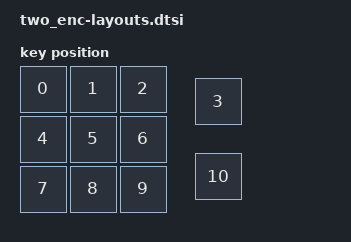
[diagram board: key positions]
#include <physical_layouts.dtsi>

/ {
    thermalpad_physical_layout: thermalpad_physical_layout {
        compatible = "zmk,physical-layout";
        display-name = "two encoder layout";
        keys  //                     w   h    x    y     rot    rx    ry
            = <&key_physical_attrs 100 100    0    0       0     0     0>
            , <&key_physical_attrs 100 100  100    0       0     0     0>
            , <&key_physical_attrs 100 100  200    0       0     0     0>
            , <&key_physical_attrs 100 100  350   25       0     0     0>
            , <&key_physical_attrs 100 100    0  100       0     0     0>
            , <&key_physical_attrs 100 100  100  100       0     0     0>
            , <&key_physical_attrs 100 100  200  100       0     0     0>
            , <&key_physical_attrs 100 100    0  200       0     0     0>
            , <&key_physical_attrs 100 100  100  200       0     0     0>
            , <&key_physical_attrs 100 100  200  200       0     0     0>
            , <&key_physical_attrs 100 100  350  175       0     0     0>
            ;
    };
};
